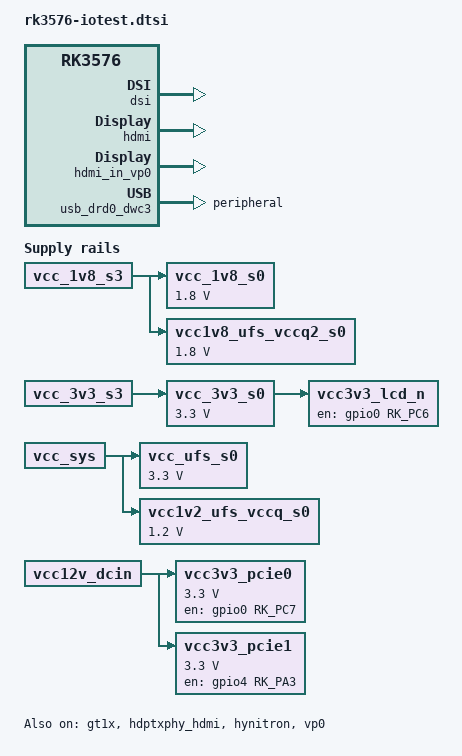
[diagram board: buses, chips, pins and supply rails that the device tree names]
// SPDX-License-Identifier: (GPL-2.0+ OR MIT)
/*
 * Copyright (c) 2024 Rockchip Electronics Co., Ltd.
 *
 */

#include <dt-bindings/usb/pd.h>
#include "rk3576-evb.dtsi"
#include "rk3576-rk806.dtsi"

/ {
	vcc_1v8_s0: vcc-1v8-s0 {
		compatible = "regulator-fixed";
		regulator-name = "vcc_1v8_s0";
		regulator-boot-on;
		regulator-always-on;
		regulator-min-microvolt = <1800000>;
		regulator-max-microvolt = <1800000>;
		vin-supply = <&vcc_1v8_s3>;
	};

	vcc_3v3_s0: vcc-3v3-s0 {
		compatible = "regulator-fixed";
		regulator-name = "vcc_3v3_s0";
		regulator-boot-on;
		regulator-always-on;
		regulator-min-microvolt = <3300000>;
		regulator-max-microvolt = <3300000>;
		vin-supply = <&vcc_3v3_s3>;
	};

	vcc_ufs_s0: vcc-ufs-s0 {
		compatible = "regulator-fixed";
		regulator-name = "vcc_ufs_s0";
		regulator-boot-on;
		regulator-always-on;
		regulator-min-microvolt = <3300000>;
		regulator-max-microvolt = <3300000>;
		vin-supply = <&vcc_sys>;
	};

	vcc1v8_ufs_vccq2_s0: vcc1v8-ufs-vccq2-s0 {
		compatible = "regulator-fixed";
		regulator-name = "vcc1v8_ufs_vccq2_s0";
		regulator-boot-on;
		regulator-always-on;
		regulator-min-microvolt = <1800000>;
		regulator-max-microvolt = <1800000>;
		vin-supply = <&vcc_1v8_s3>;
	};

	vcc1v2_ufs_vccq_s0: vcc1v2-ufs-vccq-s0 {
		compatible = "regulator-fixed";
		regulator-name = "vcc1v2_ufs_vccq_s0";
		regulator-boot-on;
		regulator-always-on;
		regulator-min-microvolt = <1200000>;
		regulator-max-microvolt = <1200000>;
		vin-supply = <&vcc_sys>;
	};

	vcc3v3_lcd_n: vcc3v3-lcd0-n {
		compatible = "regulator-fixed";
		regulator-name = "vcc3v3_lcd0_n";
		regulator-boot-on;
		enable-active-high;
		gpios = <&gpio0 RK_PC6 GPIO_ACTIVE_HIGH>;
		vin-supply = <&vcc_3v3_s0>;
	};

	vcc3v3_pcie0: vcc3v3-pcie0 {
		compatible = "regulator-fixed";
		regulator-name = "vcc3v3_pcie0";
		regulator-min-microvolt = <3300000>;
		regulator-max-microvolt = <3300000>;
		enable-active-high;
		gpios = <&gpio0 RK_PC7 GPIO_ACTIVE_HIGH>;
		startup-delay-us = <5000>;
		vin-supply = <&vcc12v_dcin>;
	};

	vcc3v3_pcie1: vcc3v3-pcie1 {
		compatible = "regulator-fixed";
		regulator-name = "vcc3v3_pcie1";
		regulator-min-microvolt = <3300000>;
		regulator-max-microvolt = <3300000>;
		enable-active-high;
		gpios = <&gpio4 RK_PA3 GPIO_ACTIVE_HIGH>;
		startup-delay-us = <5000>;
		vin-supply = <&vcc12v_dcin>;
	};
};

&wireless_bluetooth {
	status = "disabled";
};

&wireless_wlan {
	status = "disabled";
};

/*
 * mipidcphy0 needs to be enabled
 * when dsi is enabled
 */
&dsi {
	status = "okay";
};

&dsi_panel {
	power-supply = <&vcc3v3_lcd_n>;
};

&gt1x {
	status = "okay";
	power-supply = <&vcc3v3_lcd_n>;
};

&hdmi {
	status = "okay";
};

&hdmi_in_vp0 {
	status = "okay";
};

&hdptxphy_hdmi {
	status = "okay";
};

&hynitron {
	status = "okay";
	power-supply = <&vcc3v3_lcd_n>;
};

&route_hdmi {
	status = "disabled";
	connect = <&vp0_out_hdmi>;
};

&usb_drd0_dwc3 {
	dr_mode = "peripheral";
};

&vp0 {
	status = "okay";
};

&wireless_wlan {
	status = "disabled";
};

&work_led {
	status = "disabled";
};
